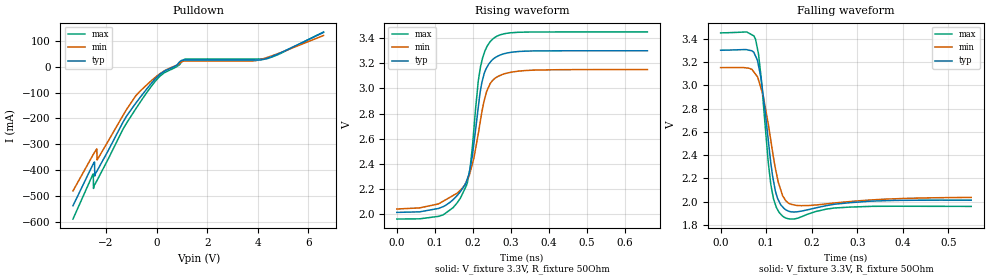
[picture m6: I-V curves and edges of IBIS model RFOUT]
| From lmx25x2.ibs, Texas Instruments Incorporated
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|   Model RFOUT
[Model]   RFOUT
Model_type   Open_drain
Polarity   Non-Inverting
Vmeas = 2.5
Vref = 3.3
Cref = 15pF
Rref = 50
|   typ   min   max
|   (nom PVT)   (slow PVT)   (fast PVT)
C_comp   0.263p   0.255p   0.278p
[Voltage Range]   3.3   3.15   3.45
[Temperature Range]   27   125   -40
[Pullup Reference]   3.3   3.15   3.45
[Pulldown Reference]   0   0   0
[Power Clamp Reference]   3.3   3.15   3.45
[GND Clamp Reference]   0   0   0
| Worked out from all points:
|   slope of the pulldown table from 0 to 0.495 V, typ, clamps not added: 14.7 ohm
|   falling waveform, V_fixture 3.3V, R_fixture 50Ohm: 20-80 % time 23ps typ, 29.5ps min, 20.5ps max; typ from 3.3 V to 2.01 V
|   rising waveform, V_fixture 3.3V, R_fixture 50Ohm: 20-80 % time 39ps typ, 48.7ps min, 32.8ps max; typ from 2.01 V to 3.3 V
[Pulldown]
|   Voltage   I(typ)   I(min)   I(max)
-3.3V     -538.2mA   -480.8mA   -589.5mA
-2.508V   -377.7mA   -341.3mA   -416mA
-2.488V   -374.3mA   -338mA     -471.4mA
-2.449V   -368.8mA   -331.5mA   -457.5mA
-2.439V   -423.1mA   -329.9mA   -455.8mA
-2.36V    -404.9mA   -318.3mA   -441.9mA
-2.34V    -401.6mA   -359.9mA   -438.3mA
-1.181V   -191.1mA   -165.1mA   -218.1mA
293.7mV   -18.37mA   -17.23mA   -24.65mA
1.125V    25.61mA    21.92mA    28.98mA
4.155V    26.22mA    28.77mA    29.73mA
6.6V      132.7mA    120.7mA    134.3mA
[Ramp]
R_load = 50
|   typ   min   max
dV/dt_r   0.772733/3.89944e-11   0.666569/4.86919e-11   0.894467/3.28412e-11
dV/dt_f   0.772293/2.30105e-11   0.668022/2.93836e-11   0.894195/2.04418e-11
[Falling Waveform]
V_fixture = 3.3V
V_fixture_min = 3.15V
V_fixture_max = 3.45V
R_fixture = 50Ohm
C_fixture = 0F
|   Time   V(typ)   V(min)   V(max)
0s        3.302V     3.153V     3.452V
76.49ps   3.253V     3.097V     3.399V
88.8ps    3.059V     2.973V     3.072V
104.6ps   2.528V     2.667V     2.335V
110.4ps   2.328V     2.522V     2.143V
121.7ps   2.069V     2.258V     1.957V
137.3ps   1.951V     2.044V     1.872V
176.1ps   1.918V     1.966V     1.869V
248.9ps   1.978V     1.989V     1.946V
550ps     2.013V     2.037V     1.96V
[Rising Waveform]
V_fixture = 3.3V
V_fixture_min = 3.15V
V_fixture_max = 3.45V
R_fixture = 50Ohm
C_fixture = 0F
|   Time   V(typ)   V(min)   V(max)
0s        2.012V     2.039V     1.959V
110ps     2.044V     2.08V      1.981V
167.3ps   2.177V     2.189V     2.125V
193ps     2.363V     2.33V      2.366V
214.6ps   2.85V      2.639V     3.06V
220.4ps   2.985V     2.746V     3.172V
236.5ps   3.164V     2.975V     3.327V
255.9ps   3.239V     3.074V     3.402V
340.9ps   3.297V     3.143V     3.449V
660ps     3.3V       3.15V      3.45V
